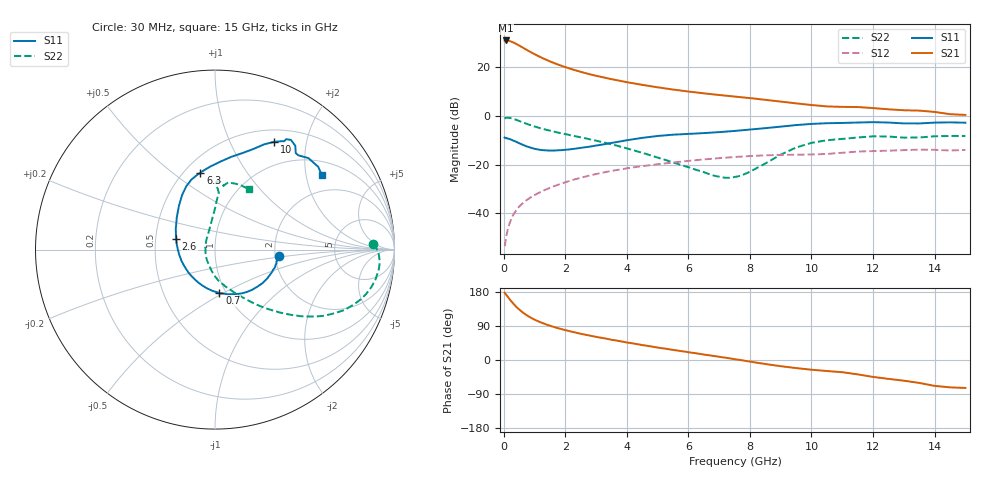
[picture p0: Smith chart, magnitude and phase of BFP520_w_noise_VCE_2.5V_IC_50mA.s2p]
! Infineon Technologies  Discrete & RF Semiconductors
! BFP520
! VCE =  2.5 V,  IC =  50 mA
! Common Emitter S-Parameters:  Oct 2015
# GHz  S  MA  R  50
!  f  S11  S21  S12  S22
! GHz  MAG  ANG  MAG  ANG  MAG  ANG  MAG  ANG
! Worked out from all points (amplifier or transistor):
!   109 points, 30 MHz to 15 GHz, reference 50 ohm
!   highest |S21| = 31.0 dB at 70 MHz (marker M1)
!   |S21| within 3 dB of that: start of sweep to 629.2 MHz
!   unconditionally stable (mu >= 1): start of sweep to 45.19 MHz; 1.762 GHz to end of sweep
!   at 450 MHz: K = 0.52, MSG = 33.7 dB, |S12| = -38.1 dB
!   at 4 GHz: K = 1.19, MAG = 15.1 dB, |S12| = -21.6 dB
!   at 15 GHz: K = 1.29, MAG = 4.0 dB, |S12| = -14.0 dB
!   lowest NFmin = 3.26 dB at 450 MHz
!   S11 on the Smith chart (normalised r, x): 30 MHz: 2.10, -0.17; 700 MHz: 0.93, -0.48; 2.6 GHz: 0.64, +0.08; 6.3 GHz: 0.60, +0.63; 10 GHz: 0.66, +1.48; 15 GHz: 1.42, +2.47
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0.03  0.3594 -5.6  35.43 177.7  0.0021 112.5  0.8815 1.9
0.07  0.3492 -11.3  35.59 173.3  0.003 94.6  0.911 -1.3
0.14  0.3419 -20.9  35.26 166.0  0.0048 85.0  0.9194 -6.5
0.2  0.3328 -28.9  34.5 159.7  0.0064 81.7  0.9095 -10.6
0.3  0.3134 -41.3  32.67 149.9  0.009 78.5  0.8765 -16.5
0.35  0.3048 -47.4  31.58 145.4  0.0102 77.0  0.8557 -19.1
0.5  0.2752 -64.0  28.06 133.5  0.0136 74.2  0.789 -25.5
0.7  0.2425 -84.3  23.73 120.7  0.0177 71.7  0.7053 -31.6
0.8  0.2306 -93.3  21.82 115.4  0.0196 71.0  0.669 -33.9
1  0.2116 -110.1  18.65 106.7  0.0235 70.0  0.6072 -37.7
1.2  0.1999 -125.1  16.11 99.4  0.0274 69.1  0.5574 -40.7
1.4  0.1955 -138.7  14.09 93.3  0.0312 68.1  0.5155 -43.3
1.9  0.1983 -167.2  10.6 81.0  0.0412 65.4  0.436 -48.8
2.6  0.2251 164.5  7.749 67.6  0.0555 60.4  0.3521 -55.6
3.5  0.2783 140.0  5.697 53.4  0.0739 52.6  0.2611 -65.9
5.1  0.3914 113.3  3.795 31.6  0.1032 37.9  0.1333 -94.9
6.3  0.4365 100.7  3.014 17.0  0.124 26.9  0.0762 -124.3
7.6  0.4974 85.1  2.465 1.0  0.1443 14.5  0.057 157.7
10  0.6844 61.3  1.675 -25.7  0.1612 -6.9  0.2799 87.7
10.5  0.7084 58.5  1.569 -29.1  0.1653 -9.2  0.316 86.2
13  0.7013 50.1  1.308 -54.6  0.1979 -31.0  0.3575 82.3
15  0.7251 34.8  1.049 -73.8  0.1998 -47.5  0.3864 61.0
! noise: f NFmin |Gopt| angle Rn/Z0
0.45  3.26  0.19  -159  0.29
0.9  3.26  0.21  -151  0.32
1.9  3.39  0.27  -127  0.39
2.4  3.38  0.28  -123  0.37
3.5  3.38  0.27  -109  0.45
